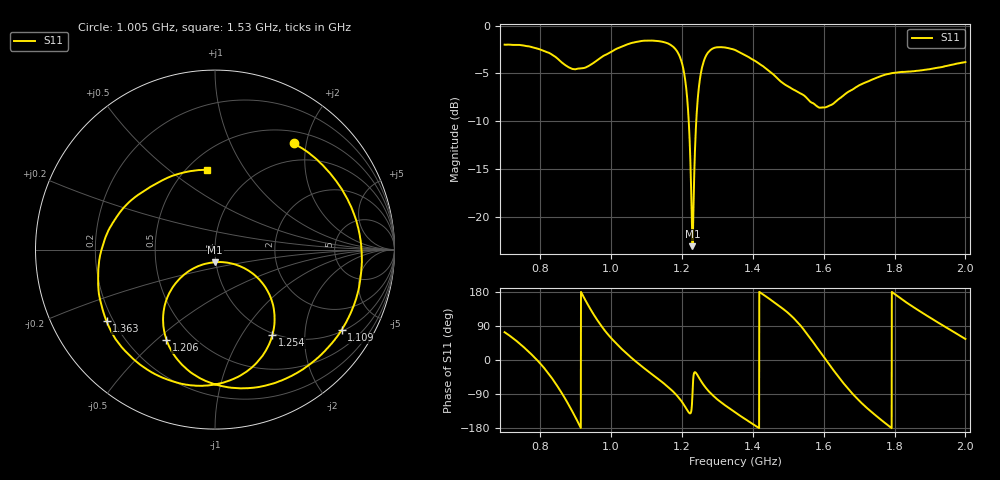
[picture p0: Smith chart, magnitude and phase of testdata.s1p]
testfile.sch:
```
<Qucs Schematic 0.0.19>
<Properties>
  <View=-572,-120,1231,771,1,552,0>
  <Grid=10,10,1>
  <DataSet=template.dat>
  <DataDisplay=template.dpl>
  <OpenDisplay=1>
  <Script=template.m>
  <RunScript=0>
  <showFrame=0>
  <FrameText0=Title>
  <FrameText1=Drawn By:>
  <FrameText2=Date:>
  <FrameText3=Revision:>
</Properties>
<Symbol>
</Symbol>
<Components>
  <GND * 5 610 330 0 0 0 0>
  <Pac P1 1 20 270 18 -26 0 1 "1" 1 "50 Ohm" 1 "0 dBm" 0 "1 GHz" 0 "26.85" 0>
  <Eqn Eqn1 1 50 410 -31 15 0 0 "S11_dB=dB(S[1,1])" 1 "yes" 0>
  <GND * 5 320 250 0 0 0 0>
  <GND * 5 240 270 0 0 0 0>
  <GND * 5 420 300 0 0 0 0>
  <GND * 5 210 300 0 0 0 0>
  <GND * 5 20 300 0 0 0 0>
<SPICE TEMPLATE_2 1 320 220 -26 -59 0 0 "C:\Users\rg\Desktop\qucs-discrete-matching\components\C\CSRF_0402_885392005001_0R3pF.sp" 1 "_net1,_net2" 0 "yes" 0 "none" 0>
<SPICE TEMPLATE_1 1 210 270 -766 -26 0 1 "C:\Users\rg\Desktop\qucs-discrete-matching\components\C\CSRF_0402_885392005001_0R3pF.sp" 1 "_net1,_net2" 0 "yes" 0 "none" 0>
  <SPfile X1 1 610 220 -26 -59 0 0 "C:/Users/rg/Desktop/qucs-discrete-matching/data/testdata.s1p" 1 "rectangular" 0 "linear" 0 "open" 0 "1" 0>
  <.SP SP1 1 10 10 0 63 0 0 "lin" 1 "750 MHz" 1 "2 GHz" 1 "1000" 1 "no" 0 "1" 0 "2" 0 "no" 0 "no" 0>
<SPICE TEMPLATE_3 1 420 270 -125 -26 0 1 "C:\Users\rg\Desktop\qucs-discrete-matching\components\C\CSRF_0402_885392005001_0R3pF.sp" 1 "_net1,_net2" 0 "yes" 0 "none" 0>
  <GND * 1 450 270 0 0 0 0>
</Components>
<Wires>
  <350 220 420 220 "" 0 0 0 "">
  <210 220 290 220 "" 0 0 0 "">
  <210 220 210 240 "" 0 0 0 "">
  <420 220 420 240 "" 0 0 0 "">
  <420 220 580 220 "" 0 0 0 "">
  <610 250 610 330 "" 0 0 0 "">
  <20 220 210 220 "" 0 0 0 "">
  <20 220 20 240 "" 0 0 0 "">
</Wires>
<Diagrams>
  <Rect 760 572 444 322 3 #c0c0c0 1 00 1 0 0.2 1 1 -0.1 0.5 1.1 1 -0.1 0.5 1.1 315 0 225 "" "" "">
	<"S11_dB" #0000ff 0 3 0 0 0>
  </Rect>
</Diagrams>
<Paintings>
  <Text 190 0 24 #000000 0 "Matching network template">
  <Text 190 40 12 #000000 0 "Using components:\nK1: /.../....s1p\nK2: /.../....sp\nK3: /.../....s1p">
</Paintings>
```
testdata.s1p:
!Keysight Technologies,P9371A,MY57212015,Z.15.41.75
!Date: Monday, April 25, 2022 14:26:42
!Correction: S11(C  1-Port  )
!S1P File: Measurement: S11:
# Hz S  dB  R 50
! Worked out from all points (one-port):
!   2601 points, 700 MHz to 2 GHz, reference 50 ohm
!   lowest |S11| = -23.1 dB at 1.23 GHz (marker M1), VSWR 1.15, Z = 49.6 - j6.98 ohm
!   |S11| at or under -10 dB: 1.219 GHz to 1.241 GHz (21.21 MHz wide, 1.72 % of centre)
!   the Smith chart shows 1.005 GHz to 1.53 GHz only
!   S11 on the Smith chart (normalised r, x): 1.005 GHz: 0.69, +1.78; 1.109 GHz: 1.05, -3.11; 1.206 GHz: 0.36, -0.54; 1.254 GHz: 0.97, -1.38; 1.363 GHz: 0.17, -0.29; 1.53 GHz: 0.62, +0.69
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7e8  -2.00 73.4
8.56e8  -3.67 -79.5
9.2e8  -4.47 171.5
1.005e9  -2.66 53.4
1.1085e9  -1.56 -32.5
1.1335e9  -1.63 -50.3
1.206e9  -4.88 -118.3
1.23e9  -23.09 -89.2
1.2545e9  -4.83 -56.1
1.3635e9  -2.80 -146.5
1.5305e9  -7.02 95.5
1.567e9  -8.07 51.7
1.7985e9  -4.95 175.4
2e9  -3.83 55.5
